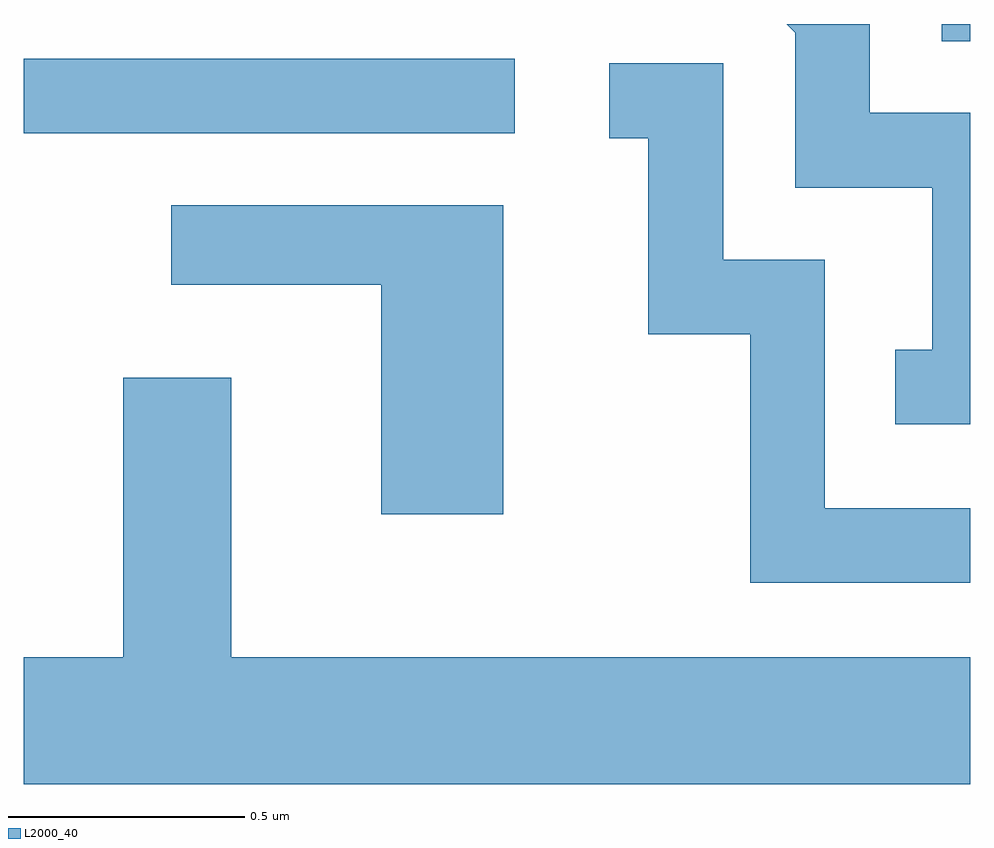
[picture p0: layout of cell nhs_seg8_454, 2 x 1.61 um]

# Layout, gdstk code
import gdstk
lib = gdstk.Library(unit=1e-6, precision=1e-09)
def R(c, l, rs):  # rectangles x0, y0, x1, y1
    for r in rs: c.add(gdstk.rectangle(r[:2], r[2:], *l))
def P(c, l, *ps):  # polygons
    for p in ps: c.add(gdstk.Polygon(p, *l))
L2000_40 = (2000, 40)

nhs_seg8_454 = lib.new_cell('nhs_seg8_454')
R(nhs_seg8_454, L2000_40, [(188.611,1851.111,189.648,1851.269), (190.551,1851.306,190.611,1851.342)])
P(nhs_seg8_454, L2000_40, [(190.611,1851.154),(190.399,1851.154),(190.399,1851.342),(190.223,1851.342),(190.241,1851.324),(190.241,1850.996),(190.531,1850.996),(190.531,1850.654),(190.453,1850.654),(190.453,1850.496),(190.611,1850.496)],
  [(190.611,1850.319),(190.304,1850.319),(190.304,1850.844),(190.089,1850.844),(190.089,1851.259),(189.848,1851.259),(189.848,1851.101),(189.931,1851.101),(189.931,1850.686),(190.146,1850.686),(190.146,1850.161),(190.611,1850.161)],
  [(189.624,1850.959),(188.923,1850.959),(188.923,1850.791),(189.366,1850.791),(189.366,1850.306),(189.624,1850.306)],
  [(190.611,1850.004),(189.049,1850.004),(189.049,1850.594),(188.821,1850.594),(188.821,1850.004),(188.611,1850.004),(188.611,1849.736),(190.611,1849.736)])

lib.write_gds('nhs_seg8_454.gds')
